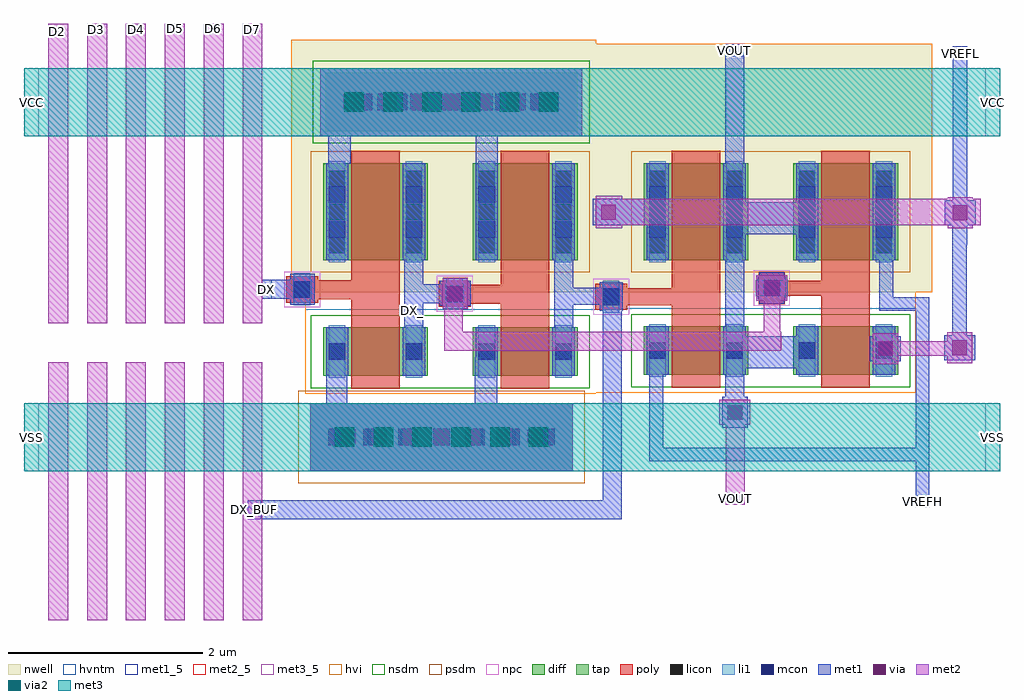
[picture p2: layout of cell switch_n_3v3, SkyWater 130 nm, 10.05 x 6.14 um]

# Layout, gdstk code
import gdstk
lib = gdstk.Library(unit=1e-6, precision=1e-09)
def R(c, l, rs):  # rectangles x0, y0, x1, y1
    for r in rs: c.add(gdstk.rectangle(r[:2], r[2:], *l))
def A(c, l, x, y, w, h, nx, ny, dx, dy):  # array of equal rectangles
    R(c, l, [(x+i*dx, y+j*dy, x+i*dx+w, y+j*dy+h) for i in range(nx) for j in range(ny)])
nwell = (64, 20)
diff = (65, 20)
tap = (65, 44)
poly = (66, 20)
licon = (66, 44)
li1 = (67, 20)
mcon = (67, 44)
met1_5 = (68, 5)
met1 = (68, 20)
via = (68, 44)
met2_5 = (69, 5)
met2 = (69, 20)
via2 = (69, 44)
met3_5 = (70, 5)
met3 = (70, 20)
hvi = (75, 20)
nsdm = (93, 44)
psdm = (94, 20)
npc = (95, 20)
hvntm = (125, 20)

switch_n_3v3 = lib.new_cell('switch_n_3v3')
R(switch_n_3v3, nwell, [(-31.91,-1.58,-25.31,0.98), (-31.91,0.98,-28.77,1.02)])
R(switch_n_3v3, diff, [(-31.58,-2.44,-30.5,-1.94), (-30.04,-2.44,-28.96,-1.94), (-28.28,-2.43,-27.2,-1.93), (-26.74,-2.43,-25.66,-1.93), (-31.58,-1.25,-30.5,-0.25), (-30.04,-1.25,-28.96,-0.25), (-28.28,-1.25,-27.2,-0.25), (-26.74,-1.25,-25.66,-0.25)])
R(switch_n_3v3, tap, [(-31.71,-3.42,-29.01,-2.72), (-31.56,0.08,-28.96,0.68)])
R(switch_n_3v3, poly, [(-31.29,-2.57,-30.79,-1.65), (-29.75,-2.57,-29.25,-1.695), (-27.99,-2.56,-27.49,-1.715), (-26.45,-2.56,-25.95,-1.615), (-28.78,-1.76,-28.45,-1.715), (-30.39,-1.73,-30.06,-1.695), (-28.78,-1.715,-27.49,-1.54), (-27.095,-1.7,-26.825,-1.615), (-30.39,-1.695,-29.25,-1.5), (-31.96,-1.685,-31.63,-1.65), (-31.96,-1.65,-30.79,-1.455), (-27.095,-1.615,-25.95,-1.46), (-28.78,-1.54,-28.45,-1.49), (-27.99,-1.54,-27.49,-0.12), (-30.39,-1.5,-30.06,-1.46), (-29.75,-1.5,-29.25,-0.12), (-27.095,-1.46,-26.825,-1.37), (-26.45,-1.46,-25.95,-0.12), (-31.96,-1.455,-31.63,-1.415), (-31.29,-1.455,-30.79,-0.12)])
A(switch_n_3v3, licon, -31.465, -3.155, 0.17, 0.17, 7, 1, 0.34, 0)
A(switch_n_3v3, licon, -31.52, -1.175, 0.17, 0.17, 1, 3, 0, 0.34)
A(switch_n_3v3, licon, -30.73, -1.175, 0.17, 0.17, 1, 3, 0, 0.34)
A(switch_n_3v3, licon, -29.98, -1.175, 0.17, 0.17, 1, 3, 0, 0.34)
A(switch_n_3v3, licon, -29.19, -1.175, 0.17, 0.17, 1, 3, 0, 0.34)
A(switch_n_3v3, licon, -28.22, -1.175, 0.17, 0.17, 1, 3, 0, 0.34)
A(switch_n_3v3, licon, -27.43, -1.175, 0.17, 0.17, 1, 3, 0, 0.34)
A(switch_n_3v3, licon, -26.68, -1.175, 0.17, 0.17, 1, 3, 0, 0.34)
A(switch_n_3v3, licon, -25.89, -1.175, 0.17, 0.17, 1, 3, 0, 0.34)
A(switch_n_3v3, licon, -31.365, 0.295, 0.17, 0.17, 7, 1, 0.34, 0)
R(switch_n_3v3, licon, [(-31.52,-2.275,-31.35,-2.105), (-30.73,-2.275,-30.56,-2.105), (-29.98,-2.275,-29.81,-2.105), (-29.19,-2.275,-29.02,-2.105), (-28.22,-2.265,-28.05,-2.095), (-27.43,-2.265,-27.26,-2.095), (-26.68,-2.265,-26.51,-2.095), (-25.89,-2.265,-25.72,-2.095), (-28.7,-1.71,-28.53,-1.54), (-30.31,-1.68,-30.14,-1.51), (-31.88,-1.635,-31.71,-1.465), (-27.045,-1.62,-26.875,-1.45)])
R(switch_n_3v3, li1, [(-31.71,-3.42,-29.01,-2.72), (-31.52,-2.46,-31.35,-1.92), (-30.73,-2.46,-30.56,-1.92), (-29.98,-2.46,-29.81,-1.92), (-29.19,-2.46,-29.02,-1.92), (-28.22,-2.45,-28.05,-1.91), (-27.43,-2.45,-27.26,-1.91), (-26.68,-2.45,-26.51,-1.91), (-25.89,-2.45,-25.72,-1.91), (-28.7,-1.79,-28.53,-1.71), (-30.31,-1.76,-30.14,-1.69), (-31.88,-1.715,-31.71,-1.645), (-28.7,-1.71,-28.525,-1.535), (-30.32,-1.69,-30.125,-1.495), (-31.89,-1.645,-31.695,-1.45), (-27.125,-1.62,-26.795,-1.45), (-28.7,-1.535,-28.53,-1.46), (-30.31,-1.495,-30.14,-1.43), (-31.88,-1.45,-31.71,-1.385), (-31.52,-1.27,-31.35,-0.23), (-30.73,-1.27,-30.56,-0.23), (-29.98,-1.27,-29.81,-0.23), (-29.19,-1.27,-29.02,-0.23), (-28.22,-1.27,-28.05,-0.23), (-27.43,-1.27,-27.26,-0.23), (-26.68,-1.27,-26.51,-0.23), (-25.89,-1.27,-25.72,-0.23), (-31.61,0.03,-28.91,0.73)])
A(switch_n_3v3, mcon, -31.525, -3.155, 0.17, 0.17, 7, 1, 0.36, 0)
A(switch_n_3v3, mcon, -31.245, 0.295, 0.17, 0.17, 6, 1, 0.36, 0)
R(switch_n_3v3, mcon, [(-31.52,-2.275,-31.35,-2.105), (-30.73,-2.275,-30.56,-2.105), (-29.98,-2.275,-29.81,-2.105), (-29.19,-2.275,-29.02,-2.105), (-28.22,-2.265,-28.05,-2.095), (-27.43,-2.265,-27.26,-2.095), (-26.68,-2.265,-26.51,-2.095), (-25.89,-2.265,-25.72,-2.095), (-28.7,-1.71,-28.53,-1.54), (-30.31,-1.68,-30.14,-1.51), (-31.88,-1.635,-31.71,-1.465), (-27.045,-1.62,-26.875,-1.45), (-31.52,-1.015,-31.35,-0.845), (-30.73,-1.015,-30.56,-0.845), (-29.98,-1.015,-29.81,-0.845), (-29.19,-1.015,-29.02,-0.845), (-28.22,-1.015,-28.05,-0.845), (-27.43,-1.015,-27.26,-0.845), (-26.68,-1.015,-26.51,-0.845), (-25.89,-1.015,-25.72,-0.845), (-31.52,-0.655,-31.35,-0.485), (-30.73,-0.655,-30.56,-0.485), (-29.98,-0.655,-29.81,-0.485), (-29.19,-0.655,-29.02,-0.485), (-28.22,-0.655,-28.05,-0.485), (-27.43,-0.655,-27.26,-0.485), (-26.68,-0.655,-26.51,-0.485), (-25.89,-0.655,-25.72,-0.485)])
R(switch_n_3v3, met1_5, [(-32.355,-3.915,-32.215,-3.72), (-25.48,-3.79,-25.34,-3.67), (-32.21,-1.645,-32.11,-1.45), (-25.095,0.83,-24.945,0.93), (-27.44,0.85,-27.245,0.975)])
R(switch_n_3v3, met1, [(-32.355,-3.915,-28.505,-3.72), (-25.48,-3.79,-25.34,-3.32), (-28.7,-3.72,-28.505,-1.77), (-31.71,-3.42,-29.01,-2.72), (-28.22,-3.32,-25.34,-3.18), (-28.22,-3.18,-28.08,-2.43), (-25.48,-3.18,-25.34,-1.77), (-27.47,-2.975,-27.21,-2.655), (-31.55,-2.72,-31.33,-2.44), (-30.02,-2.72,-29.785,-2.44), (-27.44,-2.655,-27.245,-2.43), (-31.55,-2.44,-31.32,-1.94), (-30.76,-2.44,-30.53,-1.94), (-30.02,-2.44,-29.78,-2.25), (-29.22,-2.44,-28.99,-1.94), (-28.25,-2.43,-28.02,-1.93), (-27.46,-2.43,-27.23,-2.36), (-26.71,-2.43,-26.48,-2.36), (-25.92,-2.43,-25.69,-2.29), (-27.46,-2.36,-26.48,-2.03), (-25.95,-2.29,-25.63,-2.03), (-25.185,-2.28,-24.865,-2.02), (-30.01,-2.25,-29.78,-1.94), (-27.46,-2.03,-27.23,-1.93), (-26.71,-2.03,-26.48,-1.93), (-25.92,-2.03,-25.69,-1.93), (-25.1,-2.02,-24.95,-1.095), (-30.745,-1.94,-30.55,-1.69), (-29.2,-1.94,-29.005,-1.705), (-27.44,-1.93,-27.245,-1.25), (-28.73,-1.77,-28.495,-1.705), (-25.855,-1.77,-25.34,-1.63), (-30.35,-1.75,-30.095,-1.72), (-30.38,-1.72,-30.06,-1.69), (-31.92,-1.705,-31.665,-1.645), (-29.2,-1.705,-28.495,-1.53), (-27.09,-1.695,-26.83,-1.65), (-30.745,-1.69,-30.06,-1.495), (-27.105,-1.65,-26.815,-1.42), (-32.21,-1.645,-31.665,-1.45), (-25.855,-1.63,-25.71,-1.25), (-29.2,-1.53,-29.005,-1.25), (-28.73,-1.53,-28.495,-1.475), (-30.745,-1.495,-30.55,-1.25), (-30.38,-1.495,-30.06,-1.46), (-30.35,-1.46,-30.095,-1.435), (-31.92,-1.45,-31.665,-1.39), (-27.09,-1.42,-26.83,-1.375), (-31.55,-1.25,-31.32,-0.255), (-30.76,-1.25,-30.53,-0.25), (-30.01,-1.25,-29.78,0.03), (-29.22,-1.25,-28.99,-0.25), (-28.25,-1.25,-28.02,-0.89), (-27.46,-1.25,-27.23,-0.98), (-26.71,-1.25,-26.48,-0.98), (-25.92,-1.25,-25.69,-0.25), (-25.1,-1.095,-24.945,-0.89), (-27.46,-0.98,-26.48,-0.65), (-28.805,-0.89,-28.02,-0.615), (-25.18,-0.89,-24.86,-0.63), (-27.46,-0.65,-27.23,-0.25), (-26.71,-0.65,-26.48,-0.25), (-25.095,-0.63,-24.945,0.955), (-28.25,-0.615,-28.02,-0.25), (-31.55,-0.255,-31.295,-0.25), (-31.525,-0.25,-31.295,0.03), (-27.44,-0.25,-27.245,0.975), (-31.61,0.03,-28.91,0.73)])
A(switch_n_3v3, via, -31.395, -3.145, 0.15, 0.15, 7, 1, 0.32, 0)
A(switch_n_3v3, via, -31.295, 0.305, 0.15, 0.15, 7, 1, 0.32, 0)
R(switch_n_3v3, via, [(-27.415,-2.89,-27.265,-2.74), (-25.865,-2.235,-25.715,-2.085), (-25.1,-2.225,-24.95,-2.075), (-30.295,-1.665,-30.145,-1.515), (-27.035,-1.61,-26.885,-1.46), (-25.095,-0.835,-24.945,-0.685), (-28.715,-0.83,-28.565,-0.68)])
R(switch_n_3v3, met2_5, [(-27.435,-3.765,-27.24,-3.645)])
A(switch_n_3v3, met2, -34.41, -4.955, 0.205, 2.655, 6, 1, 0.4, 0)
A(switch_n_3v3, met2, -34.41, -1.9, 0.205, 3.085, 6, 1, 0.4, 0)
R(switch_n_3v3, met2, [(-27.435,-3.765,-27.24,-2.945), (-31.71,-3.42,-29.01,-2.72), (-27.5,-2.945,-27.18,-2.685), (-25.92,-2.32,-25.66,-2.23), (-25.155,-2.31,-24.895,-2.23), (-25.92,-2.23,-24.895,-2.085), (-30.335,-2.18,-26.865,-1.985), (-25.92,-2.085,-25.66,-2), (-25.155,-2.085,-24.895,-1.99), (-30.335,-1.985,-30.14,-1.75), (-27.045,-1.985,-26.875,-1.665), (-30.35,-1.75,-30.09,-1.705), (-30.355,-1.705,-30.09,-1.49), (-27.12,-1.665,-26.8,-1.405), (-30.35,-1.49,-30.09,-1.43), (-28.775,-0.92,-28.5,-0.89), (-25.15,-0.92,-24.89,-0.89), (-28.775,-0.89,-24.81,-0.615), (-28.775,-0.615,-28.5,-0.585), (-25.15,-0.615,-24.89,-0.6), (-31.61,0.03,-28.91,0.73)])
A(switch_n_3v3, via2, -31.46, -3.17, 0.2, 0.2, 6, 1, 0.4, 0)
A(switch_n_3v3, via2, -31.36, 0.28, 0.2, 0.2, 6, 1, 0.4, 0)
R(switch_n_3v3, met3_5, [(-34.66,-3.42,-34.51,-2.72), (-24.76,-3.42,-24.61,-2.72), (-34.66,0.03,-34.51,0.73), (-24.76,0.03,-24.61,0.73)])
R(switch_n_3v3, met3, [(-34.66,-3.42,-24.61,-2.72), (-34.66,0.03,-24.61,0.73)])
R(switch_n_3v3, hvi, [(-31.765,-2.625,-28.775,-2.615), (-31.765,-2.615,-25.475,-1.58), (-31.91,-1.58,-25.31,0.98), (-31.91,0.98,-28.77,1.02)])
R(switch_n_3v3, nsdm, [(-31.705,-2.565,-28.835,-1.815), (-28.405,-2.555,-25.535,-1.805), (-31.685,-0.045,-28.835,0.805)])
R(switch_n_3v3, psdm, [(-31.835,-3.545,-28.885,-2.595), (-31.705,-1.375,-28.835,-0.125), (-28.405,-1.375,-25.535,-0.125)])
R(switch_n_3v3, npc, [(-28.8,-1.81,-28.43,-1.44), (-30.41,-1.78,-30.04,-1.41), (-31.98,-1.735,-31.61,-1.365), (-27.145,-1.72,-26.775,-1.35)])
R(switch_n_3v3, hvntm, [(-31.765,-2.625,-28.775,-2.615), (-31.765,-2.615,-25.475,-1.755), (-28.465,-1.755,-25.475,-1.745)])
switch_n_3v3.add(gdstk.Label('DX', (-32.16,-1.547), layer=68, texttype=5))
switch_n_3v3.add(gdstk.Label('DX_BUF', (-32.285,-3.817), layer=68, texttype=5))
switch_n_3v3.add(gdstk.Label('VCC', (-24.685,0.38), layer=70, texttype=5))
switch_n_3v3.add(gdstk.Label('VSS', (-24.685,-3.07), layer=70, texttype=5))
switch_n_3v3.add(gdstk.Label('VSS', (-34.585,-3.07), layer=70, texttype=5))
switch_n_3v3.add(gdstk.Label('VCC', (-34.585,0.38), layer=70, texttype=5))
switch_n_3v3.add(gdstk.Label('D2', (-34.31,1.11), layer=69, texttype=5))
switch_n_3v3.add(gdstk.Label('D3', (-33.91,1.13), layer=69, texttype=5))
switch_n_3v3.add(gdstk.Label('D4', (-33.5,1.13), layer=69, texttype=5))
switch_n_3v3.add(gdstk.Label('D5', (-33.1,1.14), layer=69, texttype=5))
switch_n_3v3.add(gdstk.Label('D6', (-32.71,1.14), layer=69, texttype=5))
switch_n_3v3.add(gdstk.Label('D7', (-32.31,1.13), layer=69, texttype=5))
switch_n_3v3.add(gdstk.Label('VOUT', (-27.342,0.912), layer=68, texttype=5))
switch_n_3v3.add(gdstk.Label('VOUT', (-27.337,-3.705), layer=69, texttype=5))
switch_n_3v3.add(gdstk.Label('DX_', (-30.66,-1.77), layer=68, texttype=5))
switch_n_3v3.add(gdstk.Label('VREFH', (-25.41,-3.73), layer=68, texttype=5))
switch_n_3v3.add(gdstk.Label('VREFL', (-25.02,0.88), layer=68, texttype=5))

lib.write_gds('switch_n_3v3.gds')
